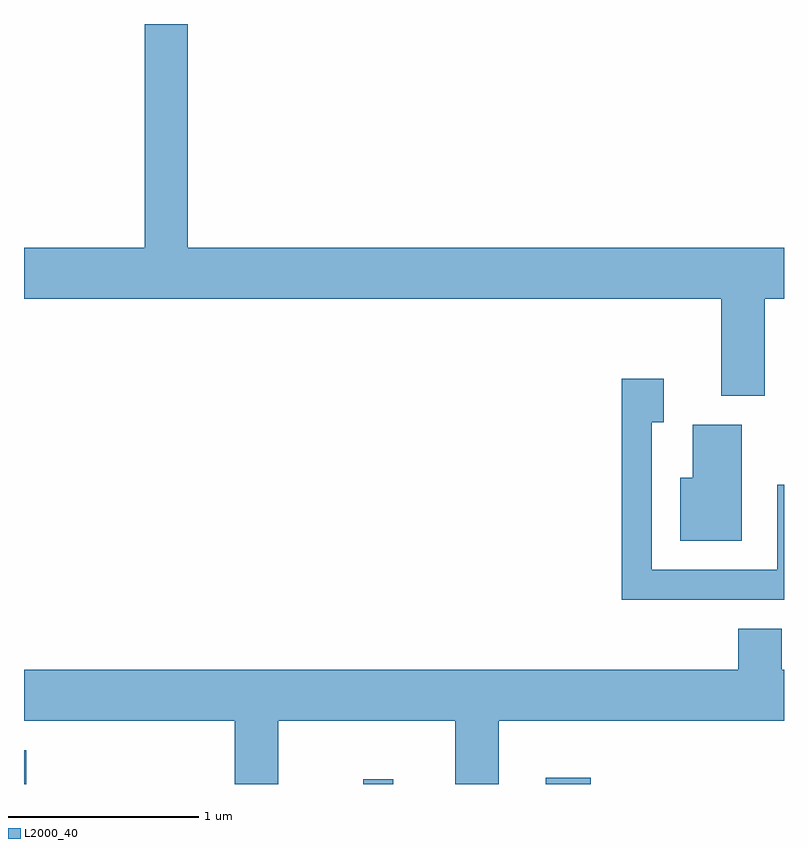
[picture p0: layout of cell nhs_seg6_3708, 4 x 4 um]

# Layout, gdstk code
import gdstk
lib = gdstk.Library(unit=1e-6, precision=1e-09)
def R(c, l, rs):  # rectangles x0, y0, x1, y1
    for r in rs: c.add(gdstk.rectangle(r[:2], r[2:], *l))
def P(c, l, *ps):  # polygons
    for p in ps: c.add(gdstk.Polygon(p, *l))
L2000_40 = (2000, 40)

nhs_seg6_3708 = lib.new_cell('nhs_seg6_3708')
R(nhs_seg6_3708, L2000_40, [(297.611,1534.162,297.624,1534.339), (299.396,1534.162,299.554,1534.188), (300.356,1534.162,300.594,1534.194)])
P(nhs_seg6_3708, L2000_40, [(301.509,1536.716),(301.611,1536.716),(301.611,1536.984),(298.474,1536.984),(298.474,1538.162),(298.246,1538.162),(298.246,1536.984),(297.611,1536.984),(297.611,1536.716),(301.281,1536.716),(301.281,1536.206),(301.509,1536.206)],
  [(301.611,1535.738),(301.576,1535.738),(301.576,1535.289),(300.914,1535.289),(300.914,1536.066),(300.979,1536.066),(300.979,1536.294),(300.756,1536.294),(300.756,1535.131),(301.611,1535.131)],
  [(301.389,1536.054),(301.131,1536.054),(301.131,1535.774),(301.066,1535.774),(301.066,1535.441),(301.389,1535.441)],
  [(298.949,1534.496),(299.881,1534.496),(299.881,1534.162),(300.109,1534.162),(300.109,1534.496),(301.611,1534.496),(301.611,1534.764),(301.599,1534.764),(301.599,1534.979),(301.371,1534.979),(301.371,1534.764),(297.611,1534.764),(297.611,1534.496),(298.721,1534.496),(298.721,1534.162),(298.949,1534.162)])

lib.write_gds('nhs_seg6_3708.gds')
